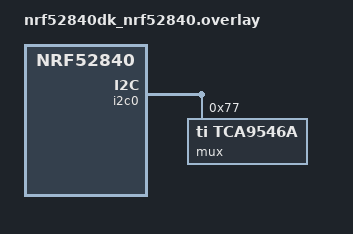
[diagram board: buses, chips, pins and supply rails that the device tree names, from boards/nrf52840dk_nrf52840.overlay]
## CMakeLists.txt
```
# SPDX-License-Identifier: Apache-2.0

cmake_minimum_required(VERSION 3.20.0)
find_package(Zephyr REQUIRED HINTS $ENV{ZEPHYR_BASE})
project(i2c_tca954x)

FILE(GLOB app_sources src/*.c)
target_sources(app PRIVATE ${app_sources})
```

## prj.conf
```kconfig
CONFIG_ZTEST=y
CONFIG_I2C=y
CONFIG_I2C_TCA954X_ROOT_INIT_PRIO=61
CONFIG_I2C_TCA954X_CHANNEL_INIT_PRIO=62
```

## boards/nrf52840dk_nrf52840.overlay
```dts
/*
 * Copyright (c) 2020 Teslabs Engineering S.L.
 *
 * SPDX-License-Identifier: Apache-2.0
 */

&i2c0 {
	status = "okay";
	mux: tca9546a@77 {
		compatible = "ti,tca9546a";
		reg = <0x77>;
		status = "okay";
		#address-cells = <1>;
		#size-cells = <0>;

		ch0: mux_i2c@0 {
			compatible = "ti,tca9546a-channel";
			reg = <0>;
			#address-cells = <1>;
			#size-cells = <0>;
		};

		ch1: mux_i2c@1 {
			compatible = "ti,tca9546a-channel";
			reg = <1>;
			#address-cells = <1>;
			#size-cells = <0>;
		};
	};
};

/{
	aliases {
		i2c-channel-0 = &ch0;
		i2c-channel-1 = &ch1;
	};
};
```

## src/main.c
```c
/*
 * Copyright (c) 2016 Intel Corporation
 *
 * SPDX-License-Identifier: Apache-2.0
 */

#include <zephyr/ztest.h>
#include <zephyr/device.h>
#include <zephyr/drivers/i2c.h>

#if DT_NODE_HAS_STATUS(DT_ALIAS(i2c_channel_0), okay)
#define I2C_0_CTRL_NODE_ID      DT_ALIAS(i2c_channel_0)
#else
#error "I2C 0 controller device not found"
#endif

#if DT_NODE_HAS_STATUS(DT_ALIAS(i2c_channel_1), okay)
#define I2C_1_CTRL_NODE_ID      DT_ALIAS(i2c_channel_1)
#else
#error "I2C 1 controller device not found"
#endif




/**
 * @brief Test Asserts
 *
 * This test verifies various assert macros provided by ztest.
 *
 */
ZTEST(i2c_tca954x, test_tca954x)
{
	uint8_t buff[1];

	const struct device *const i2c0 = DEVICE_DT_GET(I2C_0_CTRL_NODE_ID);
	const struct device *const i2c1 = DEVICE_DT_GET(I2C_1_CTRL_NODE_ID);

	zassert_true(device_is_ready(i2c0), "I2C 0 not ready");
	zassert_true(device_is_ready(i2c1), "I2C 1 not ready");

	i2c_read(i2c0, buff, 1, 0x42);
	i2c_read(i2c1, buff, 1, 0x42);
}

ZTEST_SUITE(i2c_tca954x, NULL, NULL, NULL, NULL, NULL);
```
